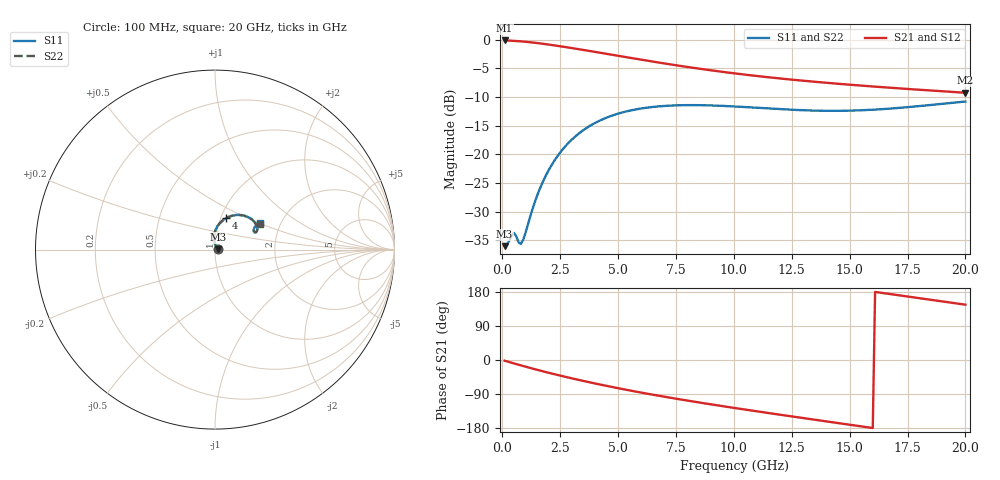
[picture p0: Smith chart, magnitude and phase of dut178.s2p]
! Touchstone file exported from HFSS 2023.1.0
!  File:  D:/Users/fzz/RDL_TSV/temp_RDL_TSV_178_1778754608.aedt
!  Generated:  6:40:09 %x4E0B%x5348  5%x6708 14, 2026
!  Design:  RDL_TSV
!  Project:  temp_RDL_TSV_178_1778754608
!  Setup:  Setup1
!  Solution:  Sweep
! Variables:
!  dtsv = 10.38um
!  hbump = 3um
!  htsv = 65.06um
!  ldown = 428.46um
!  lrdl = 483.85um
!  p = 40
!  p1 = 45.97um
!  rhole = 10um
!  subl = 3220.78um
!  t = 450um
!  tdown = 4.01um
!  trdl = 3.61um
!  viad = 10um
!  wdown = 15.48um
!  wrdl = 24.8um
!  xbump = 18um
# GHz S MA R 50.000000
! Terminal data exported
! Port[1] = TM1_1_T1
! Port[2] = TM1_4_T1
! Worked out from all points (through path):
!   200 points, 100 MHz to 20 GHz, reference 50 ohm
!   highest |S21| = -0.14 dB at 100 MHz (marker M1); lowest = -9.3 dB at 20 GHz (marker M2)
!   group delay of S21, straight-line fit = 28.1 ps
!   lowest |S11| = -36.0 dB at 100 MHz (marker M3), VSWR 1.03, Z = 51.6 + j0.247 ohm
!   |S11| at or under -10 dB: start of sweep to end of sweep
!   |S22| runs from -36.0 to -10.8 dB; largest |S21 - S12| = 6.5e-15
!   S11 on the Smith chart (normalised r, x): 100 MHz: 1.03, +0.00; 4 GHz: 1.06, +0.39; 20 GHz: 1.57, +0.50
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0.1  0.01584 8.7  0.9839 -1.8  0.9839 -1.8  0.01584 8.7
! Gamma 0 0 0 0
! Port Impedance 50 0 50 0
0.2  0.01642 17.3  0.9825 -3.7  0.9825 -3.7  0.01644 17.2
0.5  0.02069 29.4  0.9757 -9.0  0.9757 -9.0  0.02037 29.8
0.6  0.01935 29.3  0.9729 -10.7  0.9729 -10.7  0.01932 30.4
0.7  0.01713 36.9  0.9697 -12.4  0.9697 -12.4  0.01737 37.5
0.8  0.01656 50.7  0.9663 -14.2  0.9663 -14.2  0.01677 50.5
0.9  0.01791 64.4  0.9625 -15.9  0.9625 -15.9  0.01801 63.9
1.5  0.04339 94.4  0.9344 -25.8  0.9344 -25.8  0.04328 94.3
2  0.0726 94.3  0.9063 -33.7  0.9063 -33.7  0.07244 94.3
2.3  0.09127 91.7  0.8882 -38.2  0.8882 -38.2  0.09108 91.6
2.7  0.1162 87.0  0.8636 -44.1  0.8636 -44.1  0.116 87.0
3.5  0.1626 76.6  0.8136 -55.3  0.8136 -55.3  0.1623 76.5
4  0.1876 70.1  0.7827 -61.9  0.7827 -61.9  0.1872 70.1
5.2  0.2325 56.3  0.7121 -76.8  0.7121 -76.8  0.232 56.2
6.8  0.2625 41.9  0.6294 -94.8  0.6294 -94.8  0.2619 41.9
8.4  0.2686 31.9  0.5621 -111.1  0.5621 -111.1  0.268 31.9
10.1  0.2611 25.6  0.5062 -127.3  0.5062 -127.3  0.2605 25.5
11.7  0.2498 23.2  0.4652 -141.8  0.4652 -141.8  0.2493 23.1
13.4  0.241 23.7  0.4309 -156.8  0.4309 -156.8  0.2405 23.6
15  0.2405 26.1  0.4048 -170.8  0.4048 -170.8  0.24 26.0
16.7  0.2501 28.9  0.3815 174.4  0.3815 174.4  0.2495 28.7
20  0.2888 30.3  0.3445 146.0  0.3445 146.0  0.2879 30.1
